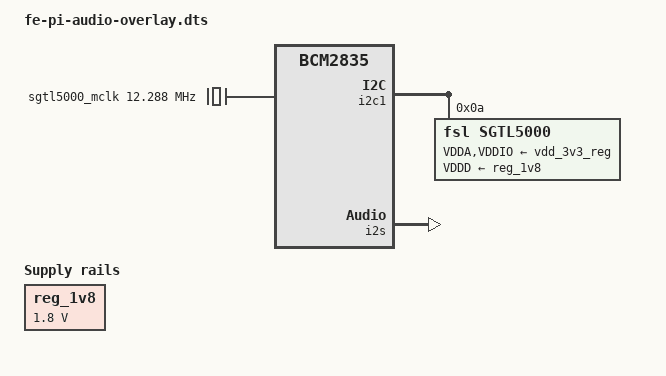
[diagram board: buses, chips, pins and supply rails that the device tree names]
// Definitions for Fe-Pi Audio
/dts-v1/;
/plugin/;

/ {
	compatible = "brcm,bcm2835";

	fragment@0 {
		target = <&clocks>;
		__overlay__ {
			sgtl5000_mclk: sgtl5000_mclk {
				compatible = "fixed-clock";
				#clock-cells = <0>;
				clock-frequency = <12288000>;
				clock-output-names = "sgtl5000-mclk";
			};
		};
	};

	fragment@1 {
		target = <&soc>;
		__overlay__ {
			reg_1v8: reg_1v8@0 {
				compatible = "regulator-fixed";
				regulator-name = "1V8";
				regulator-min-microvolt = <1800000>;
				regulator-max-microvolt = <1800000>;
				regulator-always-on;
			};
		};
	};

	fragment@2 {
		target = <&i2c1>;
		__overlay__ {
			#address-cells = <1>;
			#size-cells = <0>;
			status = "okay";

			sgtl5000@0a {
				#sound-dai-cells = <0>;
				compatible = "fsl,sgtl5000";
				reg = <0x0a>;
				clocks = <&sgtl5000_mclk>;
				micbias-resistor-k-ohms = <2>;
				micbias-voltage-m-volts = <3000>;
				VDDA-supply = <&vdd_3v3_reg>;
				VDDIO-supply = <&vdd_3v3_reg>;
				VDDD-supply = <&reg_1v8>;
				status = "okay";
			};
		};
	};

	fragment@3 {
		target = <&i2s>;
		__overlay__ {
			status = "okay";
		};
	};

	fragment@4 {
		target = <&sound>;
		__overlay__ {
			compatible = "fe-pi,fe-pi-audio";
			i2s-controller = <&i2s>;
			status = "okay";
		};
	};
};
